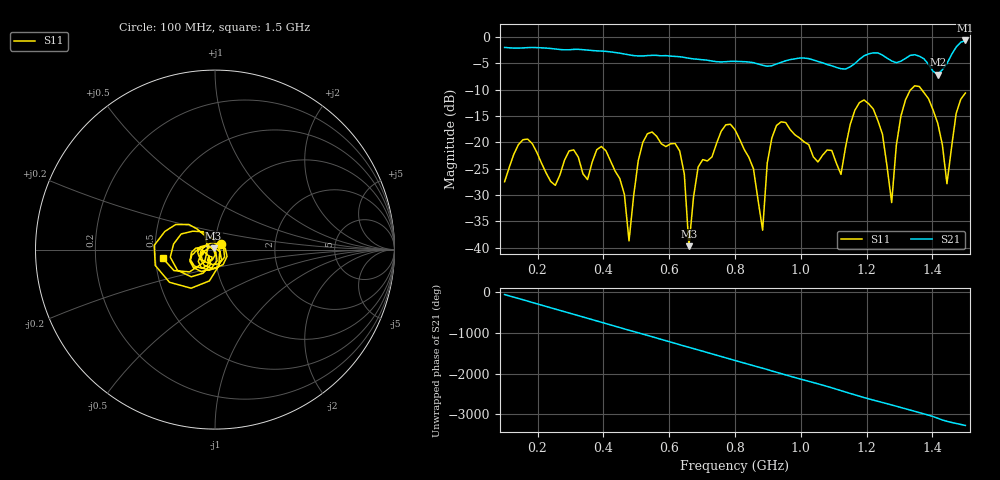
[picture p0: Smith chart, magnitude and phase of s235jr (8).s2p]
! NanoVNA-App
! Date: 2025-09-25 15:04:13
! Start: 100MHz Stop: 1,5GHz Points: 101
! S-Parameter data: F S11 S21 S12 S22
# Hz S RI R 50
!  Frequency  S11_Real  S11_Imag  S21_Real  S21_Imag  S12_Real  S12_Imag  S22_Real  S22_Imag
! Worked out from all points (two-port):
!   101 points, 100 MHz to 1.5 GHz, reference 50 ohm
!   highest |S21| = -0.64 dB at 1.5 GHz (marker M1); lowest = -7.1 dB at 1.416 GHz (marker M2)
!   |S21| within 3 dB of the highest: start of sweep to 610.1 MHz; 1.19 GHz to 1.253 GHz (62.86 MHz wide, 5.14 % of centre) (the widest 2 of 4)
!   lowest |S11| = -39.7 dB at 660 MHz (marker M3), VSWR 1.02, Z = 49.2 + j0.614 ohm
!   |S11| at or under -10 dB: start of sweep to 1.334 GHz; 1.367 GHz to end of sweep
!   S12 and S22 are empty: the file has one direction only
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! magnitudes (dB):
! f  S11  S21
! 100 MHz  -27.5  -2.0
! 170 MHz  -19.4  -2.0
! 338 MHz  -26.0  -2.4
! 408 MHz  -21.6  -2.7
! 478 MHz  -38.7  -3.4
! 520 MHz  -20.0  -3.6
! 576 MHz  -20.3  -3.6
! 632 MHz  -21.7  -3.7
! 660 MHz  -39.7  -4.0
! 688 MHz  -24.7  -4.2
! 800 MHz  -17.6  -4.6
! 884 MHz  -36.7  -5.4
! 926 MHz  -16.8  -5.1
! 1.038 GHz  -22.8  -4.3
! 1.122 GHz  -26.1  -6.0
! 1.192 GHz  -11.9  -3.6
! 1.248 GHz  -18.5  -3.4
! 1.276 GHz  -31.4  -4.5
! 1.332 GHz  -10.1  -3.5
! 1.416 GHz  -16.4  -7.1
! 1.444 GHz  -27.9  -5.0
! 1.5 GHz  -10.6  -0.6
